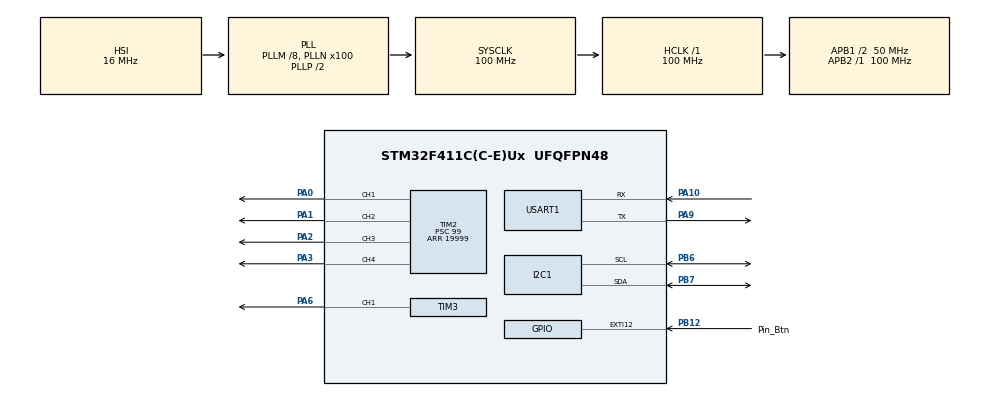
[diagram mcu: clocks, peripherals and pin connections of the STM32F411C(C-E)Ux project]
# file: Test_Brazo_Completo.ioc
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Dma.Request0=USART1_RX
Dma.USART1_RX.0.Direction=DMA_PERIPH_TO_MEMORY
Dma.USART1_RX.0.FIFOMode=DMA_FIFOMODE_DISABLE
Dma.USART1_RX.0.Instance=DMA2_Stream2
Dma.USART1_RX.0.MemDataAlignment=DMA_MDATAALIGN_BYTE
Dma.USART1_RX.0.MemInc=DMA_MINC_ENABLE
Dma.USART1_RX.0.Mode=DMA_CIRCULAR
Dma.USART1_RX.0.PeriphDataAlignment=DMA_PDATAALIGN_BYTE
Dma.USART1_RX.0.PeriphInc=DMA_PINC_DISABLE
Dma.USART1_RX.0.Priority=DMA_PRIORITY_LOW
Mcu.Family=STM32F4
Mcu.Name=STM32F411C(C-E)Ux
Mcu.Package=UFQFPN48
NVIC.DMA2_Stream2_IRQn=true\:0\:0\:false\:false\:true\:false\:true\:true
NVIC.EXTI15_10_IRQn=true\:0\:0\:false\:false\:true\:true\:true\:true
NVIC.PriorityGroup=NVIC_PRIORITYGROUP_4
NVIC.TIM3_IRQn=true\:0\:0\:false\:false\:true\:true\:true\:true
NVIC.USART1_IRQn=true\:0\:0\:false\:false\:true\:true\:true\:true
PA0-WKUP.Signal=S_TIM2_CH1_ETR
PA1.Signal=S_TIM2_CH2
PA10.Mode=Asynchronous
PA10.Signal=USART1_RX
PA13.Mode=Serial_Wire
PA13.Signal=SYS_JTMS-SWDIO
PA14.Mode=Serial_Wire
PA14.Signal=SYS_JTCK-SWCLK
PA2.Signal=S_TIM2_CH3
PA3.Signal=S_TIM2_CH4
PA6.Signal=S_TIM3_CH1
PA9.Mode=Asynchronous
PA9.Signal=USART1_TX
PB12.GPIO_Label=Pin_Btn
PB12.GPIO_ModeDefaultEXTI=GPIO_MODE_IT_RISING_FALLING
PB12.GPIO_PuPd=GPIO_PULLUP
PB12.Signal=GPXTI12
PB6.Mode=I2C
PB6.Signal=I2C1_SCL
PB7.Mode=I2C
PB7.Signal=I2C1_SDA
ProjectManager.HeapSize=0x200
ProjectManager.StackSize=0x400
ProjectManager.TargetToolchain=STM32CubeIDE
RCC.48MHZClocksFreq_Value=50000000
RCC.AHBFreq_Value=100000000
RCC.APB1CLKDivider=RCC_HCLK_DIV2
RCC.APB1Freq_Value=50000000
RCC.APB1TimFreq_Value=100000000
RCC.APB2Freq_Value=100000000
RCC.APB2TimFreq_Value=100000000
RCC.CortexFreq_Value=100000000
RCC.HCLKFreq_Value=100000000
RCC.HSE_VALUE=25000000
RCC.HSI_VALUE=16000000
RCC.LSE_VALUE=32768
RCC.PLLM=8
RCC.PLLN=100
RCC.SYSCLKFreq_VALUE=100000000
RCC.SYSCLKSource=RCC_SYSCLKSOURCE_PLLCLK
RCC.VCOOutputFreq_Value=200000000
SH.S_TIM2_CH1_ETR.0=TIM2_CH1,PWM Generation1 CH1
SH.S_TIM2_CH2.0=TIM2_CH2,PWM Generation2 CH2
SH.S_TIM2_CH3.0=TIM2_CH3,PWM Generation3 CH3
SH.S_TIM2_CH4.0=TIM2_CH4,PWM Generation4 CH4
SH.S_TIM3_CH1.0=TIM3_CH1,PWM Generation1 CH1
TIM2.Channel-PWM\ Generation1\ CH1=TIM_CHANNEL_1
TIM2.Channel-PWM\ Generation2\ CH2=TIM_CHANNEL_2
TIM2.Channel-PWM\ Generation3\ CH3=TIM_CHANNEL_3
TIM2.Channel-PWM\ Generation4\ CH4=TIM_CHANNEL_4
TIM2.Period=19999
TIM2.Prescaler=99
TIM3.Channel-PWM\ Generation1\ CH1=TIM_CHANNEL_1
TIM3.Period=1999
TIM3.Prescaler=99
USART1.VirtualMode=VM_ASYNC
VP_TIM2_VS_ClockSourceINT.Mode=Internal
board=custom

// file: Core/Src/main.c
/* USER CODE BEGIN Header */
/**
  ******************************************************************************
  * @file           : main.c
  * @brief          : Main program body
  ******************************************************************************
  * @attention
  *
  * Copyright (c) 2026 STMicroelectronics.
  * All rights reserved.
  *
  * This software is licensed under terms that can be found in the LICENSE file
  * in the root directory of this software component.
  * If no LICENSE file comes with this software, it is provided AS-IS.
  *
  ******************************************************************************
  */

/* PIN MAP */
//
//Servos:
// Muñeca: PA0
// Pinza: PA1
// Codo: PA2
// Hombro: PA3

//Boton (con pull-up): PB12

//USART:
// Rx: PA10
// Tx: PA9

//Pantalla LCD (I2C)
// SDA: PB7
// SCL: PB6

/* USER CODE END Header */
#include "main.h"

/* USER CODE BEGIN Includes */
#include <stdlib.h>
#include "i2c_lcd.h"
/* USER CODE END Includes */

/* USER CODE BEGIN PTD */
typedef struct {				//Estructura para los servomotores
    TIM_HandleTypeDef *htim; // Puntero al Timer
    uint32_t Channel;        // Canal del PWM
    uint16_t Min_Pulse;      // Pulso mínimo real en microsegundos
    uint16_t Max_Pulse;      // Pulso máximo real en microsegundos
    // VARIABLES DE CONTROL DE TRAYECTORIA
    volatile uint16_t Current_Pulse;  // Posición actual del Duty Cycle
    volatile uint16_t Target_Pulse;   // Posición objetivo (Set-point)
    uint16_t Step_Size;      // Magnitud del paso (en microsegundos por actualización)
} ServoConfig_t;

// Máquina de estados para 4 servos y estado de conexion/desconexion
typedef enum {
    WAIT_START, WAIT_S1, WAIT_S2, WAIT_S3, WAIT_S4, WAIT_STATUS, WAIT_CHK, WAIT_END
} ProtocolState_t;

// LCD
typedef enum { // Estados de actulizacion para la LCD
    LCD_UNKNOWN,
    LCD_DESCONECTADO,
    LCD_CONECTADO,
    LCD_PRUEBA
} LcdState_t;

/* USER CODE END PV */
/* USER CODE END PTD */

/* USER CODE BEGIN PD */
#define RING_BUFFER_SIZE  128

#define DEBOUNCE_TIME 50
#define LONG_PRESS_TIME 1500
/* USER CODE END PD */

I2C_HandleTypeDef hi2c1;

TIM_HandleTypeDef htim2;
TIM_HandleTypeDef htim3;

UART_HandleTypeDef huart1;
DMA_HandleTypeDef hdma_usart1_rx;

extern I2C_HandleTypeDef hi2c1;
I2C_LCD_HandleTypeDef lcd1;
LcdState_t current_lcd_state = LCD_UNKNOWN; // estado actual de la pantalla

/* USER CODE BEGIN PV */
ServoConfig_t servo_mun = {
    .htim = &htim2,
    .Channel = TIM_CHANNEL_1,
    .Min_Pulse = 900,	//530
    .Max_Pulse = 2430,	//2430

    .Current_Pulse = 530,
    .Target_Pulse = 530,
    .Step_Size = 10
};

ServoConfig_t servo_pnza = {
    .htim = &htim2,
    .Channel = TIM_CHANNEL_2,
    .Min_Pulse = 500, //595
    .Max_Pulse = 1200,	//2445

    .Current_Pulse = 620,
    .Target_Pulse = 620,
    .Step_Size = 10
};

ServoConfig_t servo_cdo = {
    .htim = &htim2,
    .Channel = TIM_CHANNEL_3,
    .Min_Pulse = 800,	//530
    .Max_Pulse = 2480,	//2480

    .Current_Pulse = 530,
    .Target_Pulse = 530,
    .Step_Size = 10
};

ServoConfig_t servo_hmbro = {
    .htim = &htim2,
    .Channel = TIM_CHANNEL_4,
    .Min_Pulse = 700,  //540
    .Max_Pulse = 2200,	//2430

    .Current_Pulse = 540,
    .Target_Pulse = 540,
    .Step_Size = 10
};

// BANDERAS DE ESTADO DEL SISTEMA
uint8_t is_linked = 0;     // 0 = Desvinculado, 1 = Vinculado
uint8_t home_active = 0;   // 1 = Ejecutando rutina HOME, 0 = Inactivo

// VARIABLES DEL Btn
volatile uint32_t button_press_start_time = 0;
volatile uint8_t flag_short_press = 0;
volatile uint8_t flag_long_press = 0;

volatile ProtocolState_t fsm_state = WAIT_START;

// Variables de direcciones
volatile uint8_t target_pos[4] = {90, 90, 90, 90}; // Inicializa en posicion media

// Buffer y control DMA
uint8_t dma_rx_buffer[RING_BUFFER_SIZE];
uint16_t ring_buffer_head = 0;

volatile uint32_t tramas_exitosas =0;
volatile uint32_t errores_checksum = 0;

// CONTROL DE RETRANSMISION
uint8_t pending_link_request = 0; // 1 = Esperando respuesta del ESP32
uint8_t target_link_state = 0;    // El estado buscado
uint32_t last_tx_time = 0;        // delay para el reintento
volatile uint8_t rx_estado_espnow = 0;

static uint8_t tx_buffer[3];
/* USER CODE END PV */

void SystemClock_Config(void);
static void MX_GPIO_Init(void);
static void MX_DMA_Init(void);
static void MX_TIM2_Init(void);
static void MX_TIM3_Init(void);
static void MX_USART1_UART_Init(void);
static void MX_I2C1_Init(void);
/* USER CODE BEGIN PFP */
void Run_Home_Routine(void);
void Servo_SetTargetAngle(ServoConfig_t *, uint8_t);
void Servo_ISR_Update(ServoConfig_t *);
/* USER CODE END PFP */

int main(void)
{

  /* MCU Configuration--------------------------------------------------------*/

  /* Reset of all peripherals, Initializes the Flash interface and the Systick. */
  HAL_Init();

  /* Configure the system clock */
  SystemClock_Config();

  /* Initialize all configured peripherals */
  MX_GPIO_Init();
  MX_DMA_Init();
  MX_TIM2_Init();
  MX_TIM3_Init();
  MX_USART1_UART_Init();
  MX_I2C1_Init();
  /* USER CODE BEGIN 2 */
  HAL_TIM_PWM_Start(&htim2, TIM_CHANNEL_1);
  HAL_TIM_PWM_Start(&htim2, TIM_CHANNEL_2);
  HAL_TIM_PWM_Start(&htim2, TIM_CHANNEL_3);
  HAL_TIM_PWM_Start(&htim2, TIM_CHANNEL_4);

  // INICIAMOS EL TIMER DE INTERRUPCIÓN
  HAL_TIM_Base_Start_IT(&htim3);

  // Limpiamos banderas por seguridad
    __HAL_UART_CLEAR_OREFLAG(&huart1);
    __HAL_UART_CLEAR_NEFLAG(&huart1);
    __HAL_UART_CLEAR_FEFLAG(&huart1);
    __HAL_UART_CLEAR_PEFLAG(&huart1);

  // Encendemos el DMA en modo infinito sobre el dma_rx_buffer
  HAL_UART_Receive_DMA(&huart1, dma_rx_buffer, RING_BUFFER_SIZE);

  // INICIALIZACIÓN DEL LCD
    lcd1.hi2c = &hi2c1;
    lcd1.address = 0x4E;  // Dirección I2C desplazada (0x27 << 1)

    lcd_init(&lcd1);      // Inicializa el LCD
    lcd_clear(&lcd1);     // Limpia basura en pantalla
  /* USER CODE END 2 */

  /* Infinite loop */
  /* USER CODE BEGIN WHILE */
  while (1)
  {

	  	  	// ==========================================================
	        // GESTIÓN DE BOTÓN Y BANDERAS
	        // ==========================================================
	        if (flag_long_press)
	        {
	            flag_long_press = 0;

	            // Iniciamos la petición de cambio de estado
	            pending_link_request = 1;

	            if (!is_linked) {
	            	target_link_state = 1; //  VINCULAR
	            } else {
	            	target_link_state = 0; //  DESVINCULAR
	            }

	            last_tx_time = 0; // Forzamos a que el primer envio sea inmediato

	        }

	        if (flag_short_press)
	        {
	            flag_short_press = 0;
	            if (!is_linked && !home_active) {

	                home_active = 1;

	            }
	            else if (is_linked) {

	            }
	        }

	        // ==========================================================
	        // MOTOR DE HANDSHAKING
	        // ==========================================================
	        if (pending_link_request)
	        {
	        // Reintento de transmisión cada 500 ms
	        	if ((HAL_GetTick() - last_tx_time) >= 500)
	            {
	                last_tx_time = HAL_GetTick(); // Actualiza el reloj

	                tx_buffer[0] = 0xBB;
	                tx_buffer[1] = target_link_state; // 0x01 o 0x00
	                tx_buffer[2] = 0x55;

	                // Transmisión con un timeout estricto de 10ms
	                HAL_UART_Transmit(&huart1, tx_buffer, 3, 10);
	            }
	        }

	        // ==========================================================
	        // EJECUCIÓN DE RUTINA HOME
	        // ==========================================================
	        if (home_active)
	        {
	            Run_Home_Routine(); // Ejecuta pasos
	        }

	        // ==========================================================
	        // ACTUALIZACION DEL LCD
	        // ==========================================================
	        LcdState_t target_lcd_state;

	        if (home_active) {
	            target_lcd_state = LCD_PRUEBA;
	        } else if (is_linked) {
	            target_lcd_state = LCD_CONECTADO;
	        } else {
	            target_lcd_state = LCD_DESCONECTADO;
	        }

	        // Solo transmite por I2C si el estado cambio
	        if (target_lcd_state != current_lcd_state) {

	            current_lcd_state = target_lcd_state;

	            lcd_clear(&lcd1);
	            lcd_gotoxy(&lcd1, 0, 0);
	            lcd_puts(&lcd1, "GLOV-ARM V1.0"); // Título fijo

	            lcd_gotoxy(&lcd1, 0, 1);

	            switch (current_lcd_state) {
	                case LCD_DESCONECTADO:
	                    lcd_puts(&lcd1, "Desconectado");
	                    break;
	                case LCD_CONECTADO:
	                    lcd_puts(&lcd1, "Enlace Activo ");
	                    break;
	                case LCD_PRUEBA:
	                    lcd_puts(&lcd1, "Rutina Home ");
	                    break;
	                default:
	                	break;
	            }
	        }

	        //===============================================================
	        //	MAQUINA DE ESTADOS PRINCIPAL
	        //================================================================
	        uint16_t dma_write_ptr = RING_BUFFER_SIZE - __HAL_DMA_GET_COUNTER(&hdma_usart1_rx);

	        while (ring_buffer_head != dma_write_ptr)
	        {
	            uint8_t byte = dma_rx_buffer[ring_buffer_head];
	            ring_buffer_head = (ring_buffer_head + 1) % RING_BUFFER_SIZE;

	            switch (fsm_state)
	            {
	                case WAIT_START:
	                    if (byte == 0xAA) fsm_state = WAIT_S1;
	                    break;
	                case WAIT_S1: target_pos[0] = byte; fsm_state = WAIT_S2; break;
	                case WAIT_S2: target_pos[1] = byte; fsm_state = WAIT_S3; break;
	                case WAIT_S3: target_pos[2] = byte; fsm_state = WAIT_S4; break;
	                case WAIT_S4: target_pos[3] = byte; fsm_state = WAIT_STATUS; break;

	                case WAIT_STATUS:
	                        rx_estado_espnow = byte; // Se captura el byte de [Estado_ESPNOW]
	                        fsm_state = WAIT_CHK;
	                        break;

	                case WAIT_CHK:
	                    // el byte debe ser el XOR de los 4 datos previos
	                    if (byte == (target_pos[0] ^ target_pos[1] ^ target_pos[2] ^ target_pos[3] ^ rx_estado_espnow^ 0xFF)) {
	                        fsm_state = WAIT_END;
	                    } else {
	                    	errores_checksum++; //Debug
	                        fsm_state = WAIT_START; // Error, descartamos
	                    }
	                    break;

	                case WAIT_END:
	                    if (byte == 0x55) {
	                        // PAQUETE VÁLIDO.
	                        // Las variables target_pos[0..3] ya están actualizadas.
	                        // El sistema de servos las leerá en la próxima pasada del Timer.

	                    	tramas_exitosas++; //Debug

	                    	// Se oficializa el estado en el STM32 solo si el ESP32 confirmó el requerimiento.
	                    	if (pending_link_request && (rx_estado_espnow == target_link_state)) {
	                    	    pending_link_request = 0;          // Detenemos los reintentos
	                    	    is_linked = target_link_state;     // Oficializamos el nuevo estado
	                    	}

	                    	if (rx_estado_espnow == 0x00 && is_linked == 1) {
	                    	    is_linked = 0;
	                    	    // Opcional: Detener peticiones pendientes por seguridad
	                    	    pending_link_request = 0;
	                    	}

	                    	if (is_linked && !home_active) {
	                    	Servo_SetTargetAngle(&servo_mun, target_pos[2]);
	                    	Servo_SetTargetAngle(&servo_pnza,   target_pos[3]);
	                    	Servo_SetTargetAngle(&servo_cdo,   target_pos[0]);
	                    	Servo_SetTargetAngle(&servo_hmbro,  target_pos[1]);
	                    	}
	                    }
	                    fsm_state = WAIT_START;
	                    break;
	            }
	        }
    /* USER CODE END WHILE */

  }
}

void SystemClock_Config(void)
{
  RCC_OscInitTypeDef RCC_OscInitStruct = {0};
  RCC_ClkInitTypeDef RCC_ClkInitStruct = {0};

  /** Configure the main internal regulator output voltage
  */
  __HAL_RCC_PWR_CLK_ENABLE();
  __HAL_PWR_VOLTAGESCALING_CONFIG(PWR_REGULATOR_VOLTAGE_SCALE1);

  /** Initializes the RCC Oscillators according to the specified parameters
  * in the RCC_OscInitTypeDef structure.
  */
  RCC_OscInitStruct.OscillatorType = RCC_OSCILLATORTYPE_HSI;
  RCC_OscInitStruct.HSIState = RCC_HSI_ON;
  RCC_OscInitStruct.HSICalibrationValue = RCC_HSICALIBRATION_DEFAULT;
  RCC_OscInitStruct.PLL.PLLState = RCC_PLL_ON;
  RCC_OscInitStruct.PLL.PLLSource = RCC_PLLSOURCE_HSI;
  RCC_OscInitStruct.PLL.PLLM = 8;
  RCC_OscInitStruct.PLL.PLLN = 100;
  RCC_OscInitStruct.PLL.PLLP = RCC_PLLP_DIV2;
  RCC_OscInitStruct.PLL.PLLQ = 4;
  if (HAL_RCC_OscConfig(&RCC_OscInitStruct) != HAL_OK)
  {
    Error_Handler();
  }

  /** Initializes the CPU, AHB and APB buses clocks
  */
  RCC_ClkInitStruct.ClockType = RCC_CLOCKTYPE_HCLK|RCC_CLOCKTYPE_SYSCLK
                              |RCC_CLOCKTYPE_PCLK1|RCC_CLOCKTYPE_PCLK2;
  RCC_ClkInitStruct.SYSCLKSource = RCC_SYSCLKSOURCE_PLLCLK;
  RCC_ClkInitStruct.AHBCLKDivider = RCC_SYSCLK_DIV1;
  RCC_ClkInitStruct.APB1CLKDivider = RCC_HCLK_DIV2;
  RCC_ClkInitStruct.APB2CLKDivider = RCC_HCLK_DIV1;

  if (HAL_RCC_ClockConfig(&RCC_ClkInitStruct, FLASH_LATENCY_3) != HAL_OK)
  {
    Error_Handler();
  }
}

static void MX_I2C1_Init(void)
{

  hi2c1.Instance = I2C1;
  hi2c1.Init.ClockSpeed = 100000;
  hi2c1.Init.DutyCycle = I2C_DUTYCYCLE_2;
  hi2c1.Init.OwnAddress1 = 0;
  hi2c1.Init.AddressingMode = I2C_ADDRESSINGMODE_7BIT;
  hi2c1.Init.DualAddressMode = I2C_DUALADDRESS_DISABLE;
  hi2c1.Init.OwnAddress2 = 0;
  hi2c1.Init.GeneralCallMode = I2C_GENERALCALL_DISABLE;
  hi2c1.Init.NoStretchMode = I2C_NOSTRETCH_DISABLE;
  if (HAL_I2C_Init(&hi2c1) != HAL_OK)
  {
    Error_Handler();
  }

}

static void MX_TIM2_Init(void)
{

  TIM_ClockConfigTypeDef sClockSourceConfig = {0};
  TIM_MasterConfigTypeDef sMasterConfig = {0};
  TIM_OC_InitTypeDef sConfigOC = {0};

  htim2.Instance = TIM2;
  htim2.Init.Prescaler = 99;
  htim2.Init.CounterMode = TIM_COUNTERMODE_UP;
  htim2.Init.Period = 19999;
  htim2.Init.ClockDivision = TIM_CLOCKDIVISION_DIV1;
  htim2.Init.AutoReloadPreload = TIM_AUTORELOAD_PRELOAD_DISABLE;
  if (HAL_TIM_Base_Init(&htim2) != HAL_OK)
  {
    Error_Handler();
  }
  sClockSourceConfig.ClockSource = TIM_CLOCKSOURCE_INTERNAL;
  if (HAL_TIM_ConfigClockSource(&htim2, &sClockSourceConfig) != HAL_OK)
  {
    Error_Handler();
  }
  if (HAL_TIM_PWM_Init(&htim2) != HAL_OK)
  {
    Error_Handler();
  }
  sMasterConfig.MasterOutputTrigger = TIM_TRGO_RESET;
  sMasterConfig.MasterSlaveMode = TIM_MASTERSLAVEMODE_DISABLE;
  if (HAL_TIMEx_MasterConfigSynchronization(&htim2, &sMasterConfig) != HAL_OK)
  {
    Error_Handler();
  }
  sConfigOC.OCMode = TIM_OCMODE_PWM1;
  sConfigOC.Pulse = 0;
  sConfigOC.OCPolarity = TIM_OCPOLARITY_HIGH;
  sConfigOC.OCFastMode = TIM_OCFAST_DISABLE;
  if (HAL_TIM_PWM_ConfigChannel(&htim2, &sConfigOC, TIM_CHANNEL_1) != HAL_OK)
  {
    Error_Handler();
  }
  if (HAL_TIM_PWM_ConfigChannel(&htim2, &sConfigOC, TIM_CHANNEL_2) != HAL_OK)
  {
    Error_Handler();
  }
  if (HAL_TIM_PWM_ConfigChannel(&htim2, &sConfigOC, TIM_CHANNEL_3) != HAL_OK)
  {
    Error_Handler();
  }
  if (HAL_TIM_PWM_ConfigChannel(&htim2, &sConfigOC, TIM_CHANNEL_4) != HAL_OK)
  {
    Error_Handler();
  }
  HAL_TIM_MspPostInit(&htim2);

}

static void MX_TIM3_Init(void)
{

  TIM_MasterConfigTypeDef sMasterConfig = {0};
  TIM_OC_InitTypeDef sConfigOC = {0};

  htim3.Instance = TIM3;
  htim3.Init.Prescaler = 99;
  htim3.Init.CounterMode = TIM_COUNTERMODE_UP;
  htim3.Init.Period = 7999; //Define la cantidad de microsegundos que se va ejecutar la interrupcion
  htim3.Init.ClockDivision = TIM_CLOCKDIVISION_DIV1;
  htim3.Init.AutoReloadPreload = TIM_AUTORELOAD_PRELOAD_DISABLE;
  if (HAL_TIM_PWM_Init(&htim3) != HAL_OK)
  {
    Error_Handler();
  }
  sMasterConfig.MasterOutputTrigger = TIM_TRGO_RESET;
  sMasterConfig.MasterSlaveMode = TIM_MASTERSLAVEMODE_DISABLE;
  if (HAL_TIMEx_MasterConfigSynchronization(&htim3, &sMasterConfig) != HAL_OK)
  {
    Error_Handler();
  }
  sConfigOC.OCMode = TIM_OCMODE_PWM1;
  sConfigOC.Pulse = 0;
  sConfigOC.OCPolarity = TIM_OCPOLARITY_HIGH;
  sConfigOC.OCFastMode = TIM_OCFAST_DISABLE;
  if (HAL_TIM_PWM_ConfigChannel(&htim3, &sConfigOC, TIM_CHANNEL_1) != HAL_OK)
  {
    Error_Handler();
  }
  HAL_TIM_MspPostInit(&htim3);

}

static void MX_USART1_UART_Init(void)
{

  huart1.Instance = USART1;
  huart1.Init.BaudRate = 115200;
  huart1.Init.WordLength = UART_WORDLENGTH_8B;
  huart1.Init.StopBits = UART_STOPBITS_1;
  huart1.Init.Parity = UART_PARITY_NONE;
  huart1.Init.Mode = UART_MODE_TX_RX;
  huart1.Init.HwFlowCtl = UART_HWCONTROL_NONE;
  huart1.Init.OverSampling = UART_OVERSAMPLING_16;
  if (HAL_UART_Init(&huart1) != HAL_OK)
  {
    Error_Handler();
  }

}

static void MX_DMA_Init(void)
{

  /* DMA controller clock enable */
  __HAL_RCC_DMA2_CLK_ENABLE();

  /* DMA interrupt init */
  /* DMA2_Stream2_IRQn interrupt configuration */
  HAL_NVIC_SetPriority(DMA2_Stream2_IRQn, 0, 0);
  HAL_NVIC_EnableIRQ(DMA2_Stream2_IRQn);

}

static void MX_GPIO_Init(void)
{
  GPIO_InitTypeDef GPIO_InitStruct = {0};

  /* GPIO Ports Clock Enable */
  __HAL_RCC_GPIOA_CLK_ENABLE();
  __HAL_RCC_GPIOB_CLK_ENABLE();

  /*Configure GPIO pin : Pin_Btn_Pin */
  GPIO_InitStruct.Pin = Pin_Btn_Pin;
  GPIO_InitStruct.Mode = GPIO_MODE_IT_RISING_FALLING;
  GPIO_InitStruct.Pull = GPIO_PULLUP;
  HAL_GPIO_Init(Pin_Btn_GPIO_Port, &GPIO_InitStruct);

  /* EXTI interrupt init*/
  HAL_NVIC_SetPriority(EXTI15_10_IRQn, 0, 0);
  HAL_NVIC_EnableIRQ(EXTI15_10_IRQn);

}

/* USER CODE BEGIN 4 */
/**
  * @brief Asigna un nuevo ángulo objetivo protegiendo los datos de la ISR.
  */
void Servo_SetTargetAngle(ServoConfig_t *servo, uint8_t angle)
{
    if(angle > 180) angle = 180;

    uint32_t pulse_range = servo->Max_Pulse - servo->Min_Pulse;
    uint16_t calculated_pulse = servo->Min_Pulse + ((angle * pulse_range) / 180);

    // Deshabilitamos interrupciones momentáneamente para evitar que el TIM3
    // lea el Target_Pulse justo mientras lo estamos escribiendo.
    __disable_irq();

    servo->Target_Pulse = calculated_pulse;

    __enable_irq();
}

/**
  * @brief Lógica de interpolación impulsada por ISR.
  */
void Servo_ISR_Update(ServoConfig_t *servo)
{
    if (servo->Current_Pulse == servo->Target_Pulse) return;  // Si el servo  esta en el angulo esperado no hace nada

    int32_t diff = servo->Target_Pulse - servo->Current_Pulse;	// Calcula lo que le falta para llegar al angulo deseado

    if (abs(diff) <= servo->Step_Size)
    {
        servo->Current_Pulse = servo->Target_Pulse;	// Si la diferencia es menor al cambio por angulo que hace entonces hace el salto
    }
    else if (diff > 0)
    {
        servo->Current_Pulse += servo->Step_Size;
    }
    else
    {
        servo->Current_Pulse -= servo->Step_Size;
    }

    __HAL_TIM_SET_COMPARE(servo->htim, servo->Channel, servo->Current_Pulse);
}
void Run_Home_Routine(void)
{
    // Variables estáticas para mantener el estado entre las iteraciones del while(1)
    static uint8_t home_step = 0;
    static uint32_t step_start_time = 0;

    switch (home_step)
    {
        case 0: // INICIO: Todos a 90°
            Servo_SetTargetAngle(&servo_mun, 90);
            Servo_SetTargetAngle(&servo_pnza, 90);
            Servo_SetTargetAngle(&servo_cdo, 90);
            Servo_SetTargetAngle(&servo_hmbro, 90);

            step_start_time = HAL_GetTick(); // Sellamos el tiempo actual
            home_step++;                     // Avanzamos al siguiente paso
            break;

        case 1: // ESPERA 1 seg y luego: Todos a 180°
            if ((HAL_GetTick() - step_start_time) >= 1000)
            {
                Servo_SetTargetAngle(&servo_mun, 180);
                Servo_SetTargetAngle(&servo_pnza, 180);
                Servo_SetTargetAngle(&servo_cdo, 180);
                Servo_SetTargetAngle(&servo_hmbro, 180);

                step_start_time = HAL_GetTick();
                home_step++;
            }
            break;

        case 2:
            if ((HAL_GetTick() - step_start_time) >= 1000)
            {
                Servo_SetTargetAngle(&servo_mun, 180);
                Servo_SetTargetAngle(&servo_pnza, 180);
                Servo_SetTargetAngle(&servo_cdo, 180);
                Servo_SetTargetAngle(&servo_hmbro, 0);

                step_start_time = HAL_GetTick();
                home_step++;
            }
            break;

        case 3: // ESPERA 1 seg y luego: Todos a 0°
            if ((HAL_GetTick() - step_start_time) >= 1000)
            {
                Servo_SetTargetAngle(&servo_mun, 0);
                Servo_SetTargetAngle(&servo_pnza, 0);
                Servo_SetTargetAngle(&servo_cdo, 0);
                Servo_SetTargetAngle(&servo_hmbro, 0);

                step_start_time = HAL_GetTick();
                home_step++;
            }
            break;

        case 4: // ESPERA 1 seg y luego: Hombro a 180° (el resto queda en 0°)
            if ((HAL_GetTick() - step_start_time) >= 1000)
            {
                Servo_SetTargetAngle(&servo_hmbro, 180);
                // Los demás ya están en 0° por el paso anterior

                step_start_time = HAL_GetTick();
                home_step++;
            }
            break;

        case 5: // ESPERA 0.5 seg y luego: Todos a 180°
            if ((HAL_GetTick() - step_start_time) >= 1000)
            {
                Servo_SetTargetAngle(&servo_mun, 180);
                Servo_SetTargetAngle(&servo_pnza, 180);
                Servo_SetTargetAngle(&servo_cdo, 180);
                // El hombro ya estaba en 180° por el paso anterior

                step_start_time = HAL_GetTick();
                home_step++;
            }
            break;

        case 6:
            if ((HAL_GetTick() - step_start_time) >= 1000)
            {
                Servo_SetTargetAngle(&servo_mun, 180);
                Servo_SetTargetAngle(&servo_pnza, 180);
                Servo_SetTargetAngle(&servo_cdo, 180);
                Servo_SetTargetAngle(&servo_hmbro, 90);

                step_start_time = HAL_GetTick();
                home_step++;
            }
            break;

        case 7: // ESPERA 0.5 seg y luego: Todos a 90° (Posición de descanso final)
            if ((HAL_GetTick() - step_start_time) >= 500)
            {
                Servo_SetTargetAngle(&servo_mun, 110);
                Servo_SetTargetAngle(&servo_pnza, 90);
                Servo_SetTargetAngle(&servo_cdo, 110);
                Servo_SetTargetAngle(&servo_hmbro, 90);

                step_start_time = HAL_GetTick();
                home_step++;
            }
            break;

        case 8: // ESPERA FINAL: Dar tiempo a que los motores lleguen a 90° antes de salir
            if ((HAL_GetTick() - step_start_time) >= 1000)
            {
                home_step = 0;   // 1. Reseteamos la FSM de la rutina para el futuro
                home_active = 0; // 2. Apagamos la bandera global para devolver el control
            }
            break;
    }
}
/**
  * @brief  Rutina de atención (Callback) para la interrupción de periodo transcurrido.
  * Esta función es llamada automáticamente por la HAL cuando el TIM3 llega a su tope (ARR).
  */
void HAL_TIM_PeriodElapsedCallback(TIM_HandleTypeDef *htim)
{
    // Evaluamos si la interrupción fue disparada específicamente por el Timer 3
    if (htim->Instance == TIM3)
    {
        // Ejecutamos la interpolación crítica de los 4 motores de forma segura
        Servo_ISR_Update(&servo_mun);
        Servo_ISR_Update(&servo_pnza);
        Servo_ISR_Update(&servo_cdo);
        Servo_ISR_Update(&servo_hmbro);
    }
}

void HAL_UART_ErrorCallback(UART_HandleTypeDef *huart)
{
    if (huart->Instance == USART1)
    {
        //Limpiamos los flags de error
        __HAL_UART_CLEAR_OREFLAG(huart);
        __HAL_UART_CLEAR_FEFLAG(huart);
        __HAL_UART_CLEAR_NEFLAG(huart);
        __HAL_UART_CLEAR_PEFLAG(huart);

        // Forzamos a la maquina de estados a resincronizarse
        fsm_state = WAIT_START;

        // Sincroniza el puntero de software con el hardware DMA
       ring_buffer_head = 0;

        // Detenemos formalmente el proceso y rearmamos el DMA Circular
        HAL_UART_DMAStop(huart);
        HAL_UART_Receive_DMA(&huart1, dma_rx_buffer, RING_BUFFER_SIZE);
    }
}

void HAL_GPIO_EXTI_Callback(uint16_t GPIO_Pin)
{
    if (GPIO_Pin == Pin_Btn_Pin)
    {
        if (HAL_GPIO_ReadPin(Pin_Btn_GPIO_Port, Pin_Btn_Pin) == GPIO_PIN_RESET)
        {
            // Botón presionado (flanco bajada)
            button_press_start_time = HAL_GetTick();
        }
        else
        {
            // Botón soltado (flanco subida)
            uint32_t press_duration = HAL_GetTick() - button_press_start_time;

            if (press_duration >= LONG_PRESS_TIME) {
                flag_long_press = 1;
            } else if (press_duration >= DEBOUNCE_TIME) {
                flag_short_press = 1;
            }
        }
    }
}
/* USER CODE END 4 */

void Error_Handler(void)
{
  __disable_irq();
  while (1)
  {
  }
}
